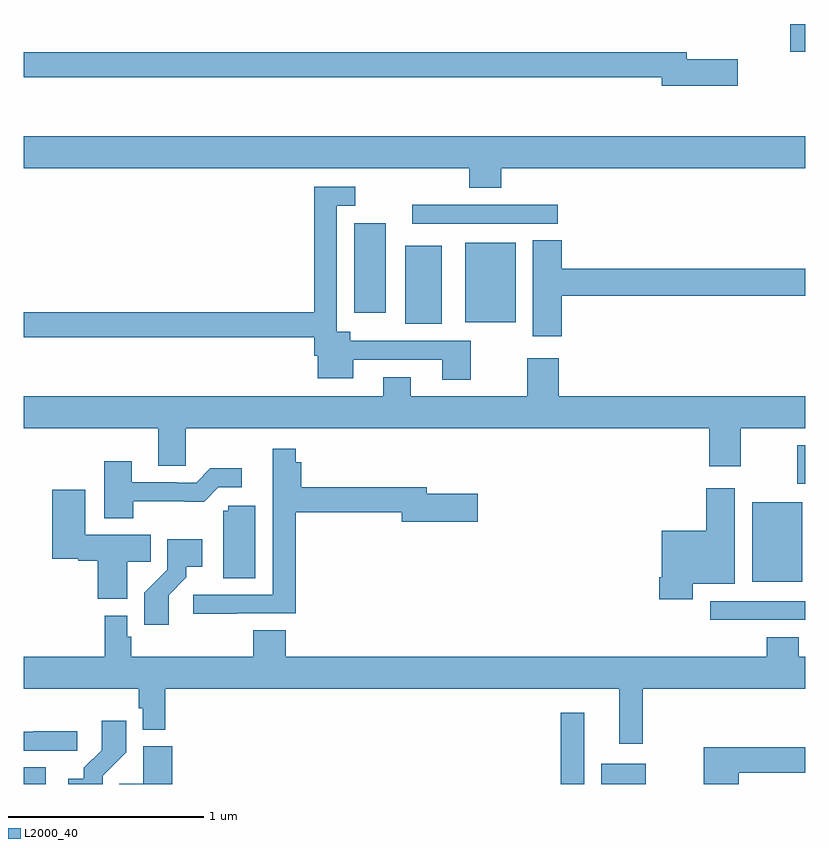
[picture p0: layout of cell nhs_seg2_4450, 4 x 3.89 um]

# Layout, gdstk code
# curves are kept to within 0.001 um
import gdstk
lib = gdstk.Library(unit=1e-6, precision=1e-09)
def R(c, l, rs):  # rectangles x0, y0, x1, y1
    for r in rs: c.add(gdstk.rectangle(r[:2], r[2:], *l))
def P(c, l, *ps):  # polygons
    for p in ps: c.add(gdstk.Polygon(p, *l))
L2000_40 = (2000, 40)

nhs_seg2_4450 = lib.new_cell('nhs_seg2_4450')
R(nhs_seg2_4450, L2000_40, [(351,661.8,351.112,661.886), (353.748,661.8,353.869,662.164), (353.957,661.8,354.184,661.903), (354.513,662.64,355,662.736), (354.728,662.834,354.985,663.241), (354.958,663.336,355,663.535), (352.952,664.157,353.14,664.555), (353.261,664.163,353.518,664.57), (352.691,664.212,352.852,664.669), (352.989,664.668,353.734,664.764), (354.924,665.548,355,665.69)])
P(nhs_seg2_4450, L2000_40, [(354.655,665.51),(354.394,665.51),(354.394,665.546),(351,665.546),(351,665.418),(354.266,665.418),(354.266,665.375),(354.655,665.375)],
  [(353.444,664.952),(355,664.952),(355,665.116),(351,665.116),(351,664.952),(353.279,664.952),(353.279,664.853),(353.444,664.853)],
  [(353.289,664.068),(352.672,664.068),(352.672,664.114),(352.602,664.114),(352.602,664.76),(352.696,664.76),(352.696,664.857),(352.486,664.857),(352.486,664.214),(351,664.214),(351,664.086),(352.486,664.086),(352.486,663.992),(352.505,663.992),(352.505,663.878),(352.687,663.878),(352.687,663.972),(353.141,663.972),(353.141,663.87),(353.289,663.87)],
  [(353.753,664.3),(355,664.3),(355,664.436),(353.753,664.436),(353.753,664.583),(353.606,664.583),(353.606,664.092),(353.753,664.092)],
  [(354.669,663.62),(355,663.62),(355,663.784),(353.738,663.784),(353.738,663.979),(353.578,663.979),(353.578,663.784),(352.981,663.784),(352.981,663.883),(352.841,663.883),(352.841,663.784),(351,663.784),(351,663.62),(351.689,663.62),(351.689,663.43),(351.828,663.43),(351.828,663.62),(354.509,663.62),(354.509,663.426),(354.669,663.426)],
  [(352.091,662.673),(352.391,662.673),(352.391,663.19),(352.934,663.19),(352.934,663.143),(353.323,663.143),(353.323,663.285),(353.062,663.285),(353.062,663.319),(352.421,663.319),(352.421,663.448),(352.391,663.448),(352.391,663.517),(352.275,663.517),(352.275,662.769),(351.867,662.769),(351.867,662.671),(352.091,662.671)],
  [(351.561,663.246),(351.923,663.245),(351.996,663.318),(352.117,663.318),(352.117,663.415),(351.955,663.415),(351.882,663.342),(351.782,663.342),(351.782,663.345),(351.553,663.345),(351.553,663.451),(351.413,663.451),(351.413,663.161),(351.561,663.161)],
  [(354.424,662.825),(354.64,662.825),(354.64,663.313),(354.494,663.313),(354.494,663.097),(354.266,663.097),(354.266,662.857),(354.254,662.857),(354.254,662.745),(354.424,662.745)],
  [(351.529,662.938),(351.65,662.938),(351.65,663.076),(351.316,663.076),(351.316,663.307),(351.146,663.307),(351.146,662.954),(351.279,662.954),(351.279,662.942),(351.38,662.942),(351.38,662.747),(351.529,662.747)],
  [(352.186,663.225),(352.047,663.225),(352.047,663.198),(352.022,663.198),(352.022,662.854),(352.186,662.854)],
  [(351.742,662.767),(351.832,662.857),(351.832,662.912),(351.913,662.912),(351.913,663.052),(351.735,663.052),(351.735,662.897),(351.616,662.778),(351.616,662.616),(351.742,662.616)],
  [(354.169,662.288),(355,662.288),(355,662.452),(354.968,662.452),(354.968,662.551),(354.803,662.551),(354.803,662.452),(352.34,662.452),(352.34,662.588),(352.175,662.588),(352.175,662.452),(351.551,662.452),(351.551,662.553),(351.531,662.553),(351.531,662.662),(351.415,662.662),(351.415,662.452),(351,662.452),(351,662.288),(351.589,662.288),(351.589,662.187),(351.609,662.187),(351.609,662.078),(351.725,662.078),(351.725,662.288),(354.047,662.288),(354.047,662.007),(354.169,662.007)],
  [(351.405,661.843),(351.524,661.962),(351.524,662.125),(351.399,662.125),(351.399,661.973),(351.308,661.883),(351.308,661.828),(351.228,661.828),(351.228,661.8),(351.405,661.8)],
  [(351.274,662.07),(351.049,662.07),(351.049,662.067),(351,662.067),(351,661.971),(351.274,661.971)],
  [(351.761,661.993),(351.611,661.993),(351.611,661.802),(351.49,661.802),(351.49,661.8),(351.761,661.8)],
  [(354.659,661.858),(355,661.858),(355,661.987),(354.481,661.987),(354.481,661.8),(354.659,661.8)])

lib.write_gds('nhs_seg2_4450.gds')
